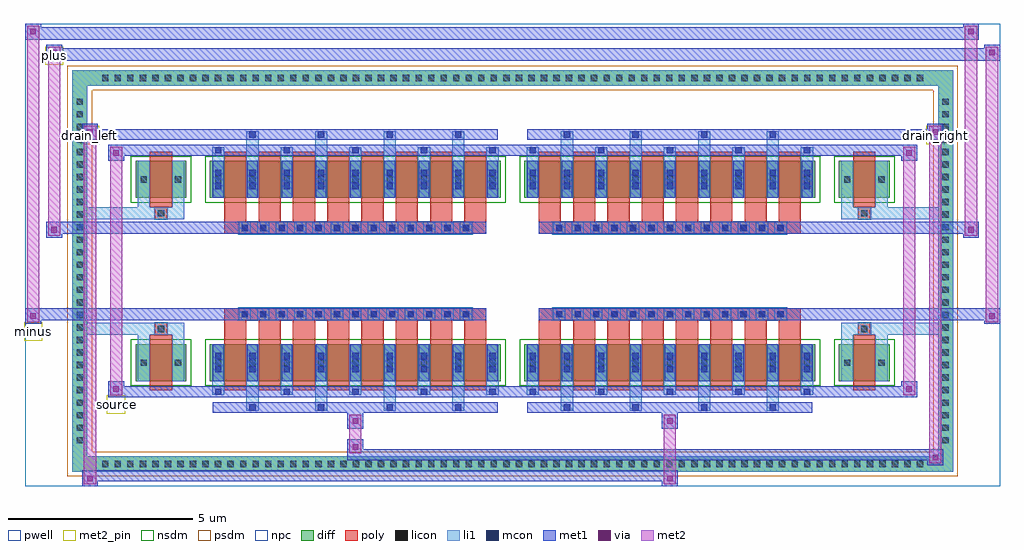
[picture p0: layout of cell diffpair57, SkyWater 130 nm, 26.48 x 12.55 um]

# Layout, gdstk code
import gdstk
lib = gdstk.Library(unit=1e-6, precision=5e-09)
def R(c, l, rs):  # rectangles x0, y0, x1, y1
    for r in rs: c.add(gdstk.rectangle(r[:2], r[2:], *l))
def A(c, l, x, y, w, h, nx, ny, dx, dy):  # array of equal rectangles
    R(c, l, [(x+i*dx, y+j*dy, x+i*dx+w, y+j*dy+h) for i in range(nx) for j in range(ny)])
def P(c, l, *ps):  # polygons
    for p in ps: c.add(gdstk.Polygon(p, *l))
pwell = (64, 44)
diff = (65, 20)
poly = (66, 20)
licon = (66, 44)
li1 = (67, 20)
mcon = (67, 44)
met1 = (68, 20)
via = (68, 44)
met2_pin = (69, 16)
met2 = (69, 20)
nsdm = (93, 44)
psdm = (94, 20)
npc = (95, 20)

diffpair57 = lib.new_cell('diffpair57')
R(diffpair57, pwell, [(-13.22,-5.84,13.22,6.71), (-10.54,-4.03,-0.01,-0.805), (0.01,-4.03,10.54,-0.805), (-10.54,0.805,-0.01,4.03), (0.01,0.805,10.54,4.03)])
A(diffpair57, diff, -11.255, -5.44, 0.41, 0.41, 66, 2, 0.34, 10.47)
A(diffpair57, diff, -11.95, -4.795, 0.41, 0.41, 1, 28, 0, 0.34)
A(diffpair57, diff, 11.54, -4.795, 0.41, 0.41, 1, 28, 0, 0.34)
R(diffpair57, diff, [(-11.255,-5.44,11.255,-5.03), (-11.95,-4.795,-11.54,4.795), (11.54,-4.795,11.95,4.795), (-10.23,-2.985,-8.85,-1.985), (-8.21,-2.985,-0.32,-1.985), (0.32,-2.985,8.21,-1.985), (8.85,-2.985,10.23,-1.985), (-10.23,1.985,-8.85,2.985), (-8.21,1.985,-0.32,2.985), (0.32,1.985,8.21,2.985), (8.85,1.985,10.23,2.985), (-11.255,5.03,11.255,5.44)])
P(diffpair57, diff, [(11.95,5.44),(-11.95,5.44),(-11.95,-5.03),(-11.54,-5.03),(-11.54,5.03),(11.54,5.03),(11.54,-5.03),(-11.54,-5.03),(-11.95,-5.03),(-11.95,-5.44),(11.95,-5.44)])
A(diffpair57, poly, -7.82, -3.235, 0.6, 1.5, 8, 2, 0.93, 4.97)
A(diffpair57, poly, 0.71, -3.235, 0.6, 1.5, 8, 2, 0.93, 4.97)
A(diffpair57, poly, -7.82, -1.735, 0.6, 0.4, 8, 2, 0.93, 3.07)
A(diffpair57, poly, 0.71, -1.735, 0.6, 0.4, 8, 2, 0.93, 3.07)
A(diffpair57, poly, -7.43, -1.335, 0.33, 0.33, 13, 2, 0.5, 2.34)
A(diffpair57, poly, 1.1, -1.335, 0.33, 0.33, 13, 2, 0.5, 2.34)
R(diffpair57, poly, [(-9.84,-3.235,-9.24,-1.735), (9.24,-3.235,9.84,-1.735), (-9.705,-1.735,-9.375,-1.405), (-9.705,-1.735,-9.375,-1.405), (9.375,-1.735,9.705,-1.405), (9.375,-1.735,9.705,-1.405), (-7.82,-1.335,-0.71,-1.005), (0.71,-1.335,7.82,-1.005), (-7.82,1.005,-0.71,1.335), (0.71,1.005,7.82,1.335), (-9.705,1.405,-9.375,1.735), (-9.705,1.405,-9.375,1.735), (9.375,1.405,9.705,1.735), (9.375,1.405,9.705,1.735), (-9.84,1.735,-9.24,3.235), (9.24,1.735,9.84,3.235)])
A(diffpair57, licon, -11.135, -5.32, 0.17, 0.17, 66, 2, 0.34, 10.47)
A(diffpair57, licon, -11.83, -4.675, 0.17, 0.17, 1, 28, 0, 0.34)
A(diffpair57, licon, 11.66, -4.675, 0.17, 0.17, 1, 28, 0, 0.34)
A(diffpair57, licon, -8.07, -2.57, 0.17, 0.17, 9, 2, 0.93, 4.97)
A(diffpair57, licon, 0.46, -2.57, 0.17, 0.17, 9, 2, 0.93, 4.97)
A(diffpair57, licon, -7.35, -1.255, 0.17, 0.17, 13, 2, 0.5, 2.34)
A(diffpair57, licon, 1.18, -1.255, 0.17, 0.17, 13, 2, 0.5, 2.34)
R(diffpair57, licon, [(-10.09,-2.57,-9.92,-2.4), (-9.16,-2.57,-8.99,-2.4), (8.99,-2.57,9.16,-2.4), (9.92,-2.57,10.09,-2.4), (-9.625,-1.655,-9.455,-1.485), (9.455,-1.655,9.625,-1.485), (-9.625,1.485,-9.455,1.655), (9.455,1.485,9.625,1.655), (-10.09,2.4,-9.92,2.57), (-9.16,2.4,-8.99,2.57), (8.99,2.4,9.16,2.57), (9.92,2.4,10.09,2.57)])
A(diffpair57, li1, -11.215, -5.4, 0.33, 0.33, 66, 2, 0.34, 10.47)
A(diffpair57, li1, -11.91, -4.755, 0.33, 0.33, 1, 28, 0, 0.34)
A(diffpair57, li1, 11.58, -4.755, 0.33, 0.33, 1, 28, 0, 0.34)
A(diffpair57, li1, -7.22, -3.79, 0.33, 0.805, 4, 2, 1.86, 6.775)
A(diffpair57, li1, -7.14, -3.79, 0.17, 0.17, 4, 2, 1.86, 7.41)
A(diffpair57, li1, 1.31, -3.79, 0.33, 0.805, 4, 2, 1.86, 6.775)
A(diffpair57, li1, 1.39, -3.79, 0.17, 0.17, 4, 2, 1.86, 7.41)
A(diffpair57, li1, -8.15, -3.36, 0.33, 0.375, 5, 2, 1.86, 6.345)
A(diffpair57, li1, -8.07, -3.36, 0.17, 0.17, 5, 2, 1.86, 6.55)
A(diffpair57, li1, 0.38, -3.36, 0.33, 0.375, 5, 2, 1.86, 6.345)
A(diffpair57, li1, 0.46, -3.36, 0.17, 0.17, 5, 2, 1.86, 6.55)
A(diffpair57, li1, -8.15, -2.985, 0.33, 1, 9, 2, 0.93, 4.97)
A(diffpair57, li1, 0.38, -2.985, 0.33, 1, 9, 2, 0.93, 4.97)
A(diffpair57, li1, -8.07, -2.75, 0.17, 0.17, 9, 2, 0.93, 0.36)
A(diffpair57, li1, -8.07, -2.75, 0.17, 0.53, 9, 2, 0.93, 4.97)
A(diffpair57, li1, 0.46, -2.75, 0.17, 0.17, 9, 2, 0.93, 0.36)
A(diffpair57, li1, 0.46, -2.75, 0.17, 0.53, 9, 2, 0.93, 4.97)
A(diffpair57, li1, -8.15, -2.65, 0.33, 0.33, 9, 2, 0.93, 4.97)
A(diffpair57, li1, 0.38, -2.65, 0.33, 0.33, 9, 2, 0.93, 4.97)
A(diffpair57, li1, -7.43, -1.335, 0.33, 0.33, 13, 2, 0.5, 2.34)
A(diffpair57, li1, 1.1, -1.335, 0.33, 0.33, 13, 2, 0.5, 2.34)
A(diffpair57, li1, -8.07, 2.22, 0.17, 0.17, 9, 2, 0.93, 0.36)
A(diffpair57, li1, 0.46, 2.22, 0.17, 0.17, 9, 2, 0.93, 0.36)
R(diffpair57, li1, [(-11.95,-5.44,-11.54,-5.03), (-11.95,-5.44,-11.54,-5.03), (-11.54,-5.44,11.54,-5.03), (11.54,-5.44,11.95,-5.03), (11.54,-5.44,11.95,-5.03), (-11.95,-5.03,-11.54,5.03), (11.54,-5.03,11.95,5.03), (-10.17,-2.985,-9.84,-1.985), (-9.24,-2.985,-8.91,-1.985), (8.91,-2.985,9.24,-1.985), (9.84,-2.985,10.17,-1.985), (-10.17,-2.65,-9.84,-2.32), (-9.24,-2.65,-8.91,-2.32), (8.91,-2.65,9.24,-2.32), (9.84,-2.65,10.17,-2.32), (-10.17,-1.985,-9.84,-1.405), (-9.24,-1.985,-8.91,-1.405), (8.91,-1.985,9.24,-1.405), (9.84,-1.985,10.17,-1.405), (-11.95,-1.735,-9.705,-1.405), (-10.17,-1.735,-9.705,-1.405), (-9.705,-1.735,-9.375,-1.405), (-9.375,-1.735,-8.91,-1.405), (8.91,-1.735,9.375,-1.405), (9.375,-1.735,9.705,-1.405), (9.375,-1.735,11.95,-1.405), (9.705,-1.735,10.17,-1.405), (-11.95,1.405,-9.705,1.735), (-10.17,1.405,-9.705,1.735), (-10.17,1.405,-9.84,1.985), (-9.705,1.405,-9.375,1.735), (-9.375,1.405,-8.91,1.735), (-9.24,1.405,-8.91,1.985), (8.91,1.405,9.375,1.735), (8.91,1.405,9.24,1.985), (9.375,1.405,9.705,1.735), (9.375,1.405,11.95,1.735), (9.705,1.405,10.17,1.735), (9.84,1.405,10.17,1.985), (-10.17,1.985,-9.84,2.985), (-9.24,1.985,-8.91,2.985), (8.91,1.985,9.24,2.985), (9.84,1.985,10.17,2.985), (-10.17,2.32,-9.84,2.65), (-9.24,2.32,-8.91,2.65), (8.91,2.32,9.24,2.65), (9.84,2.32,10.17,2.65), (-11.95,5.03,-11.54,5.44), (-11.95,5.03,-11.54,5.44), (-11.54,5.03,11.54,5.44), (11.54,5.03,11.95,5.44), (11.54,5.03,11.95,5.44)])
A(diffpair57, mcon, -7.14, -3.79, 0.17, 0.17, 4, 2, 1.86, 7.41)
A(diffpair57, mcon, 1.39, -3.79, 0.17, 0.17, 4, 2, 1.86, 7.41)
A(diffpair57, mcon, -8.07, -3.36, 0.17, 0.17, 5, 2, 1.86, 6.55)
A(diffpair57, mcon, 0.46, -3.36, 0.17, 0.17, 5, 2, 1.86, 6.55)
A(diffpair57, mcon, -8.07, -2.75, 0.17, 0.17, 9, 2, 0.93, 0.36)
A(diffpair57, mcon, 0.46, -2.75, 0.17, 0.17, 9, 2, 0.93, 0.36)
A(diffpair57, mcon, -7.35, -1.255, 0.17, 0.17, 13, 2, 0.5, 2.34)
A(diffpair57, mcon, 1.18, -1.255, 0.17, 0.17, 13, 2, 0.5, 2.34)
A(diffpair57, mcon, -8.07, 2.22, 0.17, 0.17, 9, 2, 0.93, 0.36)
A(diffpair57, mcon, 0.46, 2.22, 0.17, 0.17, 9, 2, 0.93, 0.36)
A(diffpair57, met1, -7.2, -3.85, 0.29, 0.29, 4, 2, 1.86, 7.41)
A(diffpair57, met1, 1.33, -3.85, 0.29, 0.29, 4, 2, 1.86, 7.41)
A(diffpair57, met1, -8.13, -3.42, 0.29, 0.29, 5, 2, 1.86, 6.55)
A(diffpair57, met1, 0.4, -3.42, 0.29, 0.29, 5, 2, 1.86, 6.55)
A(diffpair57, met1, -8.13, -2.985, 0.29, 1, 9, 2, 0.93, 4.97)
A(diffpair57, met1, 0.4, -2.985, 0.29, 1, 9, 2, 0.93, 4.97)
A(diffpair57, met1, -8.13, -2.81, 0.29, 0.29, 9, 2, 0.93, 0.36)
A(diffpair57, met1, 0.4, -2.81, 0.29, 0.29, 9, 2, 0.93, 0.36)
A(diffpair57, met1, -7.41, -1.315, 0.29, 0.29, 13, 2, 0.5, 2.34)
A(diffpair57, met1, 1.12, -1.315, 0.29, 0.29, 13, 2, 0.5, 2.34)
A(diffpair57, met1, -8.13, 2.16, 0.29, 0.29, 9, 2, 0.93, 0.36)
A(diffpair57, met1, 0.4, 2.16, 0.29, 0.29, 9, 2, 0.93, 0.36)
R(diffpair57, met1, [(-11.68,-5.84,-11.25,-5.41), (4.05,-5.84,4.48,-5.41), (-11.68,-5.7,4.48,-5.41), (11.25,-5.27,11.68,-4.84), (-4.48,-5.13,11.68,-4.84), (-4.48,-4.99,-4.05,-4.56), (-4.48,-4.28,-4.05,-3.85), (4.05,-4.28,4.48,-3.85), (-8.13,-3.85,-0.4,-3.56), (0.4,-3.85,8.13,-3.56), (-10.97,-3.42,-10.54,-2.99), (-10.97,-3.42,-8.13,-3.13), (-8.13,-3.42,-0.4,-3.13), (-0.4,-3.42,0.4,-3.13), (0.4,-3.42,8.13,-3.13), (8.13,-3.42,10.97,-3.13), (10.54,-3.42,10.97,-2.99), (-13.22,-1.435,-12.79,-1.005), (12.79,-1.435,13.22,-1.005), (-13.22,-1.335,-0.71,-1.005), (-7.82,-1.335,-0.71,-1.005), (0.71,-1.335,7.82,-1.005), (0.71,-1.335,13.22,-1.005), (-12.65,0.905,-12.22,1.335), (12.22,0.905,12.65,1.335), (-12.65,1.005,-7.82,1.335), (-7.82,1.005,-0.71,1.335), (0.71,1.005,7.82,1.335), (7.82,1.005,12.65,1.335), (-10.97,2.99,-10.54,3.42), (10.54,2.99,10.97,3.42), (-10.97,3.13,-8.13,3.42), (-8.13,3.13,-0.4,3.42), (-0.4,3.13,0.4,3.42), (0.4,3.13,8.13,3.42), (8.13,3.13,10.97,3.42), (-11.68,3.56,-11.25,3.99), (-11.68,3.56,-8.13,3.85), (-8.13,3.56,-0.4,3.85), (0.4,3.56,8.13,3.85), (8.13,3.56,11.68,3.85), (11.25,3.56,11.68,3.99), (-12.65,5.71,-12.22,6.14), (-12.65,5.71,-10.54,6.04), (-10.54,5.71,10.54,6.04), (10.54,5.71,13.22,6.04), (12.79,5.71,13.22,6.14), (-13.22,6.28,-12.79,6.71), (-13.22,6.28,-10.54,6.61), (-10.54,6.28,10.54,6.61), (10.54,6.28,12.65,6.61), (12.22,6.28,12.65,6.71)])
R(diffpair57, via, [(-11.54,-5.7,-11.39,-5.55), (4.19,-5.7,4.34,-5.55), (11.39,-5.13,11.54,-4.98), (-4.34,-4.85,-4.19,-4.7), (-4.34,-4.14,-4.19,-3.99), (4.19,-4.14,4.34,-3.99), (-10.83,-3.28,-10.68,-3.13), (10.68,-3.28,10.83,-3.13), (-13.08,-1.295,-12.93,-1.145), (12.93,-1.295,13.08,-1.145), (-12.51,1.045,-12.36,1.195), (12.36,1.045,12.51,1.195), (-10.83,3.13,-10.68,3.28), (10.68,3.13,10.83,3.28), (-11.54,3.7,-11.39,3.85), (11.39,3.7,11.54,3.85), (-12.51,5.85,-12.36,6), (12.93,5.85,13.08,6), (-13.08,6.42,-12.93,6.57), (12.36,6.42,12.51,6.57)])
R(diffpair57, met2_pin, [(-11.005,-3.87,-10.505,-3.37), (-13.255,-1.885,-12.755,-1.385), (-11.715,3.44,-11.215,3.94), (11.215,3.44,11.715,3.94), (-12.685,5.59,-12.185,6.09)])
R(diffpair57, met2, [(-11.63,-5.79,-11.3,-5.46), (-11.63,-5.79,-11.3,3.94), (4.1,-5.79,4.43,-5.46), (4.1,-5.46,4.43,-4.23), (11.3,-5.22,11.63,-4.89), (11.3,-5.22,11.63,3.94), (-4.43,-4.94,-4.1,-4.61), (-4.43,-4.61,-4.1,-4.23), (-4.43,-4.23,-4.1,-3.9), (4.1,-4.23,4.43,-3.9), (-10.92,-3.37,-10.59,-3.04), (-10.92,-3.37,-10.59,3.37), (10.59,-3.37,10.92,-3.04), (10.59,-3.37,10.92,3.37), (-13.17,-1.385,-12.84,-1.055), (-13.17,-1.385,-12.84,6.66), (12.84,-1.385,13.17,-1.055), (12.84,-1.385,13.17,6.09), (-12.6,0.955,-12.27,1.285), (-12.6,0.955,-12.27,6.09), (12.27,0.955,12.6,1.285), (12.27,0.955,12.6,6.66), (-10.92,3.04,-10.59,3.37), (10.59,3.04,10.92,3.37), (-11.63,3.61,-11.3,3.94), (11.3,3.61,11.63,3.94), (-12.6,5.76,-12.27,6.09), (12.84,5.76,13.17,6.09), (-13.17,6.33,-12.84,6.66), (12.27,6.33,12.6,6.66)])
P(diffpair57, met2, [(13.17,-1.385),(13.17,-1.385),(13.17,-1.055),(13.17,-1.055)],
  [(13.17,5.76),(13.17,5.76),(13.17,6.09),(13.17,6.09)],
  [(-12.84,-1.385),(-12.84,-1.385),(-12.84,-1.055),(-12.84,-1.055)],
  [(-12.84,6.33),(-12.84,6.33),(-12.84,6.66),(-12.84,6.66)],
  [(12.6,0.955),(12.6,0.955),(12.6,1.285),(12.6,1.285)],
  [(12.6,6.33),(12.6,6.33),(12.6,6.66),(12.6,6.66)],
  [(-12.27,0.955),(-12.27,0.955),(-12.27,1.285),(-12.27,1.285)],
  [(-12.27,5.76),(-12.27,5.76),(-12.27,6.09),(-12.27,6.09)],
  [(-11.3,-5.79),(-11.3,-5.79),(-11.3,-5.46),(-11.3,-5.46)],
  [(-11.3,3.61),(-11.3,3.61),(-11.3,3.94),(-11.3,3.94)],
  [(11.63,-5.22),(11.63,-5.22),(11.63,-4.89),(11.63,-4.89)],
  [(11.63,3.61),(11.63,3.61),(11.63,3.94),(11.63,3.94)],
  [(-10.59,-3.37),(-10.59,-3.37),(-10.59,-3.04),(-10.59,-3.04)],
  [(-10.59,3.04),(-10.59,3.04),(-10.59,3.37),(-10.59,3.37)],
  [(10.92,-3.37),(10.92,-3.37),(10.92,-3.04),(10.92,-3.04)],
  [(10.92,3.04),(10.92,3.04),(10.92,3.37),(10.92,3.37)])
R(diffpair57, nsdm, [(-10.36,-3.115,-8.72,-1.855), (-8.34,-3.115,-0.19,-1.855), (0.19,-3.115,8.34,-1.855), (8.72,-3.115,10.36,-1.855), (-10.36,1.855,-8.72,3.115), (-8.34,1.855,-0.19,3.115), (0.19,1.855,8.34,3.115), (8.72,1.855,10.36,3.115)])
P(diffpair57, psdm, [(12.08,5.57),(-12.08,5.57),(-12.08,-4.9),(-11.41,-4.9),(-11.41,4.9),(11.41,4.9),(11.41,-4.9),(-11.41,-4.9),(-12.08,-4.9),(-12.08,-5.57),(12.08,-5.57)])
A(diffpair57, npc, -7.45, -1.355, 0.37, 0.37, 13, 2, 0.5, 2.34)
A(diffpair57, npc, 1.08, -1.355, 0.37, 0.37, 13, 2, 0.5, 2.34)
R(diffpair57, npc, [(-9.725,-1.755,-9.355,-1.385), (9.355,-1.755,9.725,-1.385), (-7.45,-1.355,-6.58,-0.985), (-7.45,-1.355,-6.58,-0.985), (-6.95,-1.355,-6.08,-0.985), (-6.95,-1.355,-6.08,-0.985), (-6.45,-1.355,-5.58,-0.985), (-6.45,-1.355,-5.58,-0.985), (-5.95,-1.355,-5.08,-0.985), (-5.95,-1.355,-5.08,-0.985), (-5.45,-1.355,-4.58,-0.985), (-5.45,-1.355,-4.58,-0.985), (-4.95,-1.355,-4.08,-0.985), (-4.95,-1.355,-4.08,-0.985), (-4.45,-1.355,-3.58,-0.985), (-4.45,-1.355,-3.58,-0.985), (-3.95,-1.355,-3.08,-0.985), (-3.95,-1.355,-3.08,-0.985), (-3.45,-1.355,-2.58,-0.985), (-3.45,-1.355,-2.58,-0.985), (-2.95,-1.355,-2.08,-0.985), (-2.95,-1.355,-2.08,-0.985), (-2.45,-1.355,-1.58,-0.985), (-2.45,-1.355,-1.58,-0.985), (-1.95,-1.355,-1.08,-0.985), (-1.95,-1.355,-1.08,-0.985), (1.08,-1.355,1.95,-0.985), (1.08,-1.355,1.95,-0.985), (1.58,-1.355,2.45,-0.985), (1.58,-1.355,2.45,-0.985), (2.08,-1.355,2.95,-0.985), (2.08,-1.355,2.95,-0.985), (2.58,-1.355,3.45,-0.985), (2.58,-1.355,3.45,-0.985), (3.08,-1.355,3.95,-0.985), (3.08,-1.355,3.95,-0.985), (3.58,-1.355,4.45,-0.985), (3.58,-1.355,4.45,-0.985), (4.08,-1.355,4.95,-0.985), (4.08,-1.355,4.95,-0.985), (4.58,-1.355,5.45,-0.985), (4.58,-1.355,5.45,-0.985), (5.08,-1.355,5.95,-0.985), (5.08,-1.355,5.95,-0.985), (5.58,-1.355,6.45,-0.985), (5.58,-1.355,6.45,-0.985), (6.08,-1.355,6.95,-0.985), (6.08,-1.355,6.95,-0.985), (6.58,-1.355,7.45,-0.985), (6.58,-1.355,7.45,-0.985), (-7.45,0.985,-6.58,1.355), (-7.45,0.985,-6.58,1.355), (-6.95,0.985,-6.08,1.355), (-6.95,0.985,-6.08,1.355), (-6.45,0.985,-5.58,1.355), (-6.45,0.985,-5.58,1.355), (-5.95,0.985,-5.08,1.355), (-5.95,0.985,-5.08,1.355), (-5.45,0.985,-4.58,1.355), (-5.45,0.985,-4.58,1.355), (-4.95,0.985,-4.08,1.355), (-4.95,0.985,-4.08,1.355), (-4.45,0.985,-3.58,1.355), (-4.45,0.985,-3.58,1.355), (-3.95,0.985,-3.08,1.355), (-3.95,0.985,-3.08,1.355), (-3.45,0.985,-2.58,1.355), (-3.45,0.985,-2.58,1.355), (-2.95,0.985,-2.08,1.355), (-2.95,0.985,-2.08,1.355), (-2.45,0.985,-1.58,1.355), (-2.45,0.985,-1.58,1.355), (-1.95,0.985,-1.08,1.355), (-1.95,0.985,-1.08,1.355), (1.08,0.985,1.95,1.355), (1.08,0.985,1.95,1.355), (1.58,0.985,2.45,1.355), (1.58,0.985,2.45,1.355), (2.08,0.985,2.95,1.355), (2.08,0.985,2.95,1.355), (2.58,0.985,3.45,1.355), (2.58,0.985,3.45,1.355), (3.08,0.985,3.95,1.355), (3.08,0.985,3.95,1.355), (3.58,0.985,4.45,1.355), (3.58,0.985,4.45,1.355), (4.08,0.985,4.95,1.355), (4.08,0.985,4.95,1.355), (4.58,0.985,5.45,1.355), (4.58,0.985,5.45,1.355), (5.08,0.985,5.95,1.355), (5.08,0.985,5.95,1.355), (5.58,0.985,6.45,1.355), (5.58,0.985,6.45,1.355), (6.08,0.985,6.95,1.355), (6.08,0.985,6.95,1.355), (6.58,0.985,7.45,1.355), (6.58,0.985,7.45,1.355), (-9.725,1.385,-9.355,1.755), (9.355,1.385,9.725,1.755)])
diffpair57.add(gdstk.Label('minus', (-13.005,-1.635), layer=69, texttype=5))
diffpair57.add(gdstk.Label('drain_right', (11.465,3.69), layer=69, texttype=5))
diffpair57.add(gdstk.Label('drain_left', (-11.465,3.69), layer=69, texttype=5))
diffpair57.add(gdstk.Label('source', (-10.755,-3.62), layer=69, texttype=5))
diffpair57.add(gdstk.Label('plus', (-12.435,5.84), layer=69, texttype=5))

lib.write_gds('diffpair57.gds')
